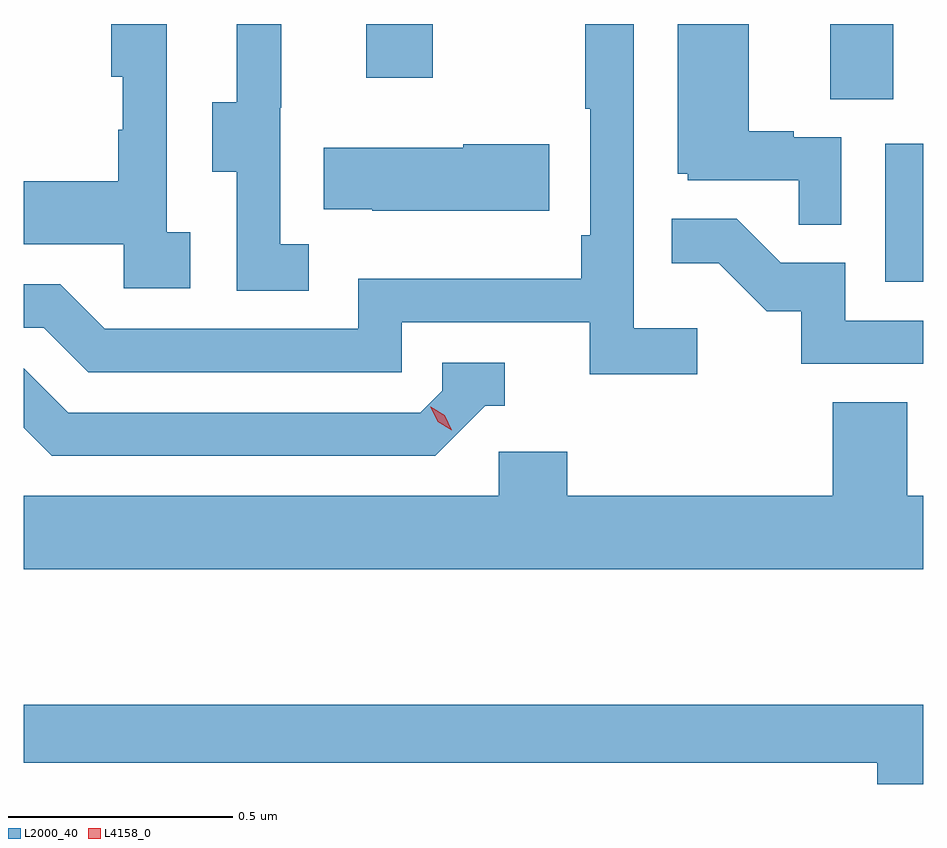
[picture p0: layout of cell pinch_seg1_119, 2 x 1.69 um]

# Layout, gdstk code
import gdstk
lib = gdstk.Library(unit=1e-6, precision=1e-09)
def R(c, l, rs):  # rectangles x0, y0, x1, y1
    for r in rs: c.add(gdstk.rectangle(r[:2], r[2:], *l))
def P(c, l, *ps):  # polygons
    for p in ps: c.add(gdstk.Polygon(p, *l))
L2000_40 = (2000, 40)
L4158_0 = (4158, 0)

pinch_seg1_119 = lib.new_cell('pinch_seg1_119')
R(pinch_seg1_119, L2000_40, [(1062.242,560.364,1062.326,560.671), (1062.119,560.77,1062.259,560.937), (1061.087,560.817,1061.235,560.937)])
P(pinch_seg1_119, L2000_40, [(1060.96,560.447),(1060.896,560.447),(1060.896,560.751),(1060.898,560.751),(1060.898,560.937),(1060.799,560.937),(1060.799,560.763),(1060.745,560.763),(1060.745,560.608),(1060.8,560.608),(1060.8,560.344),(1060.96,560.344)],
  [(1062.144,560.685),(1062.038,560.685),(1062.038,560.698),(1061.938,560.698),(1061.938,560.937),(1061.78,560.937),(1061.78,560.604),(1061.802,560.604),(1061.802,560.589),(1062.049,560.589),(1062.049,560.491),(1062.144,560.491)],
  [(1061.824,560.26),(1061.682,560.26),(1061.682,560.937),(1061.574,560.937),(1061.574,560.749),(1061.586,560.749),(1061.586,560.467),(1061.566,560.467),(1061.566,560.371),(1061.07,560.371),(1061.07,560.259),(1060.506,560.259),(1060.407,560.358),(1060.326,560.358),(1060.326,560.262),(1060.37,560.262),(1060.469,560.163),(1061.166,560.163),(1061.166,560.274),(1061.585,560.274),(1061.585,560.158),(1061.824,560.158)],
  [(1060.696,560.474),(1060.644,560.474),(1060.644,560.937),(1060.52,560.937),(1060.52,560.82),(1060.546,560.82),(1060.546,560.702),(1060.536,560.702),(1060.536,560.587),(1060.326,560.587),(1060.326,560.447),(1060.548,560.447),(1060.548,560.349),(1060.696,560.349)],
  [(1061.494,560.67),(1061.303,560.67),(1061.303,560.662),(1060.993,560.662),(1060.993,560.525),(1061.101,560.525),(1061.101,560.522),(1061.494,560.522)],
  [(1062.326,560.277),(1062.153,560.277),(1062.153,560.406),(1062.009,560.406),(1061.911,560.504),(1061.767,560.504),(1061.767,560.405),(1061.871,560.405),(1061.978,560.298),(1062.055,560.298),(1062.055,560.181),(1062.326,560.181)],
  [(1061.352,560.088),(1061.395,560.088),(1061.395,560.184),(1061.256,560.184),(1061.256,560.121),(1061.208,560.073),(1060.425,560.073),(1060.326,560.172),(1060.326,560.039),(1060.388,559.977),(1061.241,559.977)],
  [(1062.326,559.888),(1062.29,559.888),(1062.29,560.096),(1062.125,560.096),(1062.125,559.888),(1061.534,559.888),(1061.534,559.986),(1061.382,559.986),(1061.382,559.888),(1060.326,559.888),(1060.326,559.724),(1062.326,559.724)],
  [(1062.326,559.423),(1060.326,559.423),(1060.326,559.294),(1062.224,559.294),(1062.224,559.247),(1062.326,559.247)])
P(pinch_seg1_119, L4158_0, [(1061.278,560.034),(1061.247,560.053),(1061.23,560.086),(1061.23,560.086),(1061.231,560.086),(1061.262,560.067),(1061.278,560.034),(1061.278,560.034)])

lib.write_gds('pinch_seg1_119.gds')
